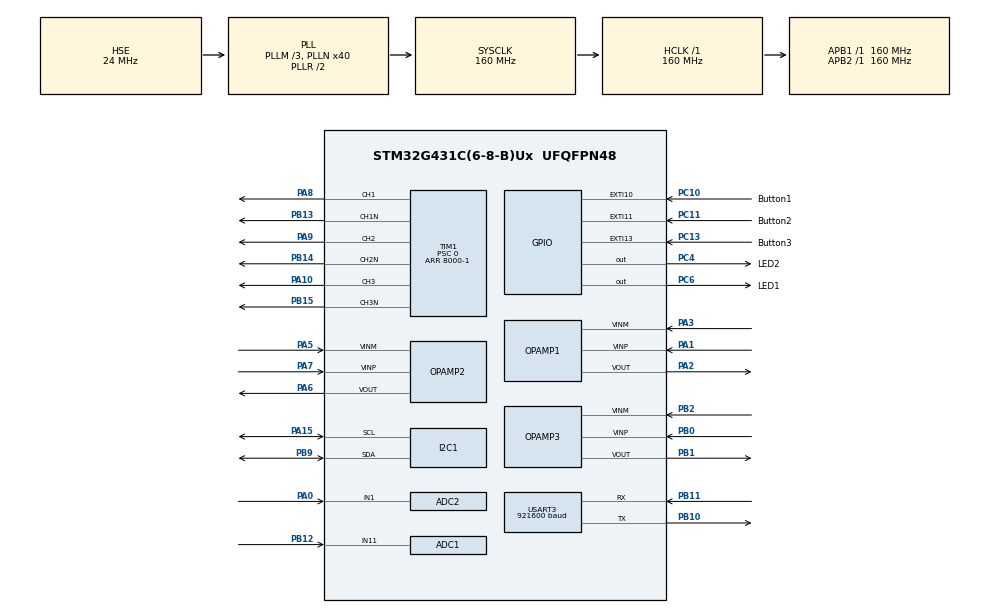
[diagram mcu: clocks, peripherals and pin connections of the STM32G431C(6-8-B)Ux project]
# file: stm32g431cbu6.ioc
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ADC1.Channel-1\#ChannelRegularConversion=ADC_CHANNEL_11
ADC1.ClockPrescaler=ADC_CLOCK_ASYNC_DIV4
ADC1.EnableInjectedConversion=ENABLE
ADC1.ExternalTrigInjecConv=ADC_EXTERNALTRIGINJEC_T1_CC4
ADC1.InjNumberOfConversion=2
ADC1.InjectedChannel-2\#ChannelInjectedConversion=ADC_CHANNEL_3
ADC1.InjectedChannel-3\#ChannelInjectedConversion=ADC_CHANNEL_12
ADC1.InjectedOffsetNumber-2\#ChannelInjectedConversion=ADC_OFFSET_NONE
ADC1.InjectedOffsetNumber-3\#ChannelInjectedConversion=ADC_OFFSET_NONE
ADC1.InjectedRank-2\#ChannelInjectedConversion=1
ADC1.InjectedRank-3\#ChannelInjectedConversion=2
ADC1.InjectedSamplingTime-2\#ChannelInjectedConversion=ADC_SAMPLETIME_6CYCLES_5
ADC1.InjectedSamplingTime-3\#ChannelInjectedConversion=ADC_SAMPLETIME_6CYCLES_5
ADC1.NbrOfConversion=1
ADC1.NbrOfConversionFlag=1
ADC1.OffsetNumber-1\#ChannelRegularConversion=ADC_OFFSET_NONE
ADC1.Rank-1\#ChannelRegularConversion=1
ADC1.SamplingTime-1\#ChannelRegularConversion=ADC_SAMPLETIME_2CYCLES_5
ADC1.master=1
ADC2.Channel-0\#ChannelRegularConversion=ADC_CHANNEL_1
ADC2.ClockPrescaler=ADC_CLOCK_ASYNC_DIV4
ADC2.EnableInjectedConversion=ENABLE
ADC2.ExternalTrigInjecConv=ADC_EXTERNALTRIGINJEC_T1_CC4
ADC2.InjNumberOfConversion=1
ADC2.InjectedChannel-1\#ChannelInjectedConversion=ADC_CHANNEL_3
ADC2.InjectedOffsetNumber-1\#ChannelInjectedConversion=ADC_OFFSET_NONE
ADC2.InjectedRank-1\#ChannelInjectedConversion=1
ADC2.InjectedSamplingTime-1\#ChannelInjectedConversion=ADC_SAMPLETIME_6CYCLES_5
ADC2.NbrOfConversionFlag=1
ADC2.OffsetNumber-0\#ChannelRegularConversion=ADC_OFFSET_NONE
ADC2.Rank-0\#ChannelRegularConversion=1
ADC2.SamplingTime-0\#ChannelRegularConversion=ADC_SAMPLETIME_2CYCLES_5
Dma.Request0=USART3_TX
Dma.USART3_TX.0.Direction=DMA_MEMORY_TO_PERIPH
Dma.USART3_TX.0.EventEnable=DISABLE
Dma.USART3_TX.0.Instance=DMA1_Channel1
Dma.USART3_TX.0.MemDataAlignment=DMA_MDATAALIGN_BYTE
Dma.USART3_TX.0.MemInc=DMA_MINC_ENABLE
Dma.USART3_TX.0.Mode=DMA_NORMAL
Dma.USART3_TX.0.PeriphDataAlignment=DMA_PDATAALIGN_BYTE
Dma.USART3_TX.0.PeriphInc=DMA_PINC_DISABLE
Dma.USART3_TX.0.Polarity=HAL_DMAMUX_REQ_GEN_RISING
Dma.USART3_TX.0.Priority=DMA_PRIORITY_LOW
Dma.USART3_TX.0.RequestNumber=1
Dma.USART3_TX.0.SignalID=NONE
Dma.USART3_TX.0.SyncEnable=DISABLE
Dma.USART3_TX.0.SyncPolarity=HAL_DMAMUX_SYNC_NO_EVENT
Dma.USART3_TX.0.SyncRequestNumber=1
Dma.USART3_TX.0.SyncSignalID=NONE
I2C1.Timing=0x30909DEC
Mcu.Family=STM32G4
Mcu.Name=STM32G431C(6-8-B)Ux
Mcu.Package=UFQFPN48
NVIC.ADC1_2_IRQn=true\:0\:0\:false\:false\:true\:true\:true\:true
NVIC.DMA1_Channel1_IRQn=true\:0\:0\:false\:false\:true\:false\:true\:true
NVIC.EXTI15_10_IRQn=true\:0\:0\:false\:false\:true\:true\:true\:true
NVIC.PriorityGroup=NVIC_PRIORITYGROUP_4
NVIC.TIM1_BRK_TIM15_IRQn=true\:0\:0\:false\:false\:true\:true\:true\:true
NVIC.TIM1_UP_TIM16_IRQn=true\:0\:0\:false\:false\:true\:true\:true\:true
NVIC.USART3_IRQn=true\:0\:0\:false\:false\:true\:true\:true\:true
PA0.Mode=IN1-Single-Ended
PA0.Signal=ADC2_IN1
PA1.Mode=Standalone
PA1.Signal=OPAMP1_VINP
PA10.Signal=S_TIM1_CH3
PA13.Mode=Serial_Wire
PA13.Signal=SYS_JTMS-SWDIO
PA14.Mode=Serial_Wire
PA14.Signal=SYS_JTCK-SWCLK
PA15.Mode=I2C
PA15.Signal=I2C1_SCL
PA2.Signal=SharedAnalog_PA2
PA3.Mode=Standalone
PA3.Signal=OPAMP1_VINM
PA5.Mode=Standalone
PA5.Signal=OPAMP2_VINM
PA6.Signal=SharedAnalog_PA6
PA7.Mode=Standalone
PA7.Signal=OPAMP2_VINP
PA8.Signal=S_TIM1_CH1
PA9.Signal=S_TIM1_CH2
PB0.Mode=Standalone
PB0.Signal=OPAMP3_VINP
PB1.Signal=SharedAnalog_PB1
PB10.Mode=Asynchronous
PB10.Signal=USART3_TX
PB11.Mode=Asynchronous
PB11.Signal=USART3_RX
PB12.Mode=IN11-Single-Ended
PB12.Signal=ADC1_IN11
PB13.Mode=PWM Generation1 CH1 CH1N
PB13.Signal=TIM1_CH1N
PB14.Mode=PWM Generation2 CH2 CH2N
PB14.Signal=TIM1_CH2N
PB15.Mode=PWM Generation3 CH3 CH3N
PB15.Signal=TIM1_CH3N
PB2.Mode=Standalone
PB2.Signal=OPAMP3_VINM
PB9.Mode=I2C
PB9.Signal=I2C1_SDA
PC10.GPIO_Label=Button1
PC10.Signal=GPXTI10
PC11.GPIO_Label=Button2
PC11.Signal=GPXTI11
PC13.GPIO_Label=Button3
PC13.Signal=GPXTI13
PC4.GPIO_Label=LED2
PC4.Signal=GPIO_Output
PC6.GPIO_Label=LED1
PC6.Signal=GPIO_Output
PF0-OSC_IN.Mode=HSE-External-Oscillator
PF0-OSC_IN.Signal=RCC_OSC_IN
PF1-OSC_OUT.Mode=HSE-External-Oscillator
PF1-OSC_OUT.Signal=RCC_OSC_OUT
ProjectManager.HeapSize=0x200
ProjectManager.StackSize=0x400
ProjectManager.TargetToolchain=MDK-ARM V5.32
RCC.ADC12Freq_Value=160000000
RCC.AHBFreq_Value=160000000
RCC.APB1Freq_Value=160000000
RCC.APB1TimFreq_Value=160000000
RCC.APB2Freq_Value=160000000
RCC.APB2TimFreq_Value=160000000
RCC.CortexFreq_Value=160000000
RCC.EXTERNAL_CLOCK_VALUE=12288000
RCC.HCLKFreq_Value=160000000
RCC.HSE_VALUE=24000000
RCC.HSI48_VALUE=48000000
RCC.HSI_VALUE=16000000
RCC.LSE_VALUE=32768
RCC.PLLM=RCC_PLLM_DIV3
RCC.PLLN=40
RCC.PLLSourceVirtual=RCC_PLLSOURCE_HSE
RCC.SYSCLKFreq_VALUE=160000000
RCC.SYSCLKSource=RCC_SYSCLKSOURCE_PLLCLK
RCC.USBFreq_Value=160000000
RCC.VCOOutputFreq_Value=320000000
SH.S_TIM1_CH1.0=TIM1_CH1,PWM Generation1 CH1 CH1N
SH.S_TIM1_CH2.0=TIM1_CH2,PWM Generation2 CH2 CH2N
SH.S_TIM1_CH3.0=TIM1_CH3,PWM Generation3 CH3 CH3N
SH.SharedAnalog_PA2.0=OPAMP1_VOUT,Standalone
SH.SharedAnalog_PA2.1=ADC1_IN3,IN3-Single-Ended
SH.SharedAnalog_PA6.0=OPAMP2_VOUT,Standalone
SH.SharedAnalog_PA6.1=ADC2_IN3,IN3-Single-Ended
SH.SharedAnalog_PB1.0=COMP1_INP
SH.SharedAnalog_PB1.1=OPAMP3_VOUT,Standalone
SH.SharedAnalog_PB1.2=ADC1_IN12,IN12-Single-Ended
STMicroelectronics.X-CUBE-ALGOBUILD.1.3.0.LibraryCcDSPOoLibraryJjDSPOoLibrary=true
TIM1.BreakFilter=2
TIM1.BreakState=TIM_BREAK_ENABLE
TIM1.Channel-PWM\ Generation1\ CH1\ CH1N=TIM_CHANNEL_1
TIM1.Channel-PWM\ Generation2\ CH2\ CH2N=TIM_CHANNEL_2
TIM1.Channel-PWM\ Generation3\ CH3\ CH3N=TIM_CHANNEL_3
TIM1.Channel-PWM\ Generation4\ No\ Output=TIM_CHANNEL_4
TIM1.ClockDivision=TIM_CLOCKDIVISION_DIV2
TIM1.CounterMode=TIM_COUNTERMODE_CENTERALIGNED1
TIM1.DeadTime=120
TIM1.DeadTimePreload=ENABLE
TIM1.OCMode_PWM-PWM\ Generation4\ No\ Output=TIM_OCMODE_PWM2
TIM1.PeriodNoDither=8000-1
TIM1.Prescaler=0
TIM1.PulseNoDither_4=8000-2
TIM1.RepetitionCounter=1
TIM1.SourceBRKCOMP1=TIM_BREAKINPUTSOURCE_DISABLE
TIM1.TIM_MasterOutputTrigger=TIM_TRGO_OC4REF
USART3.BaudRate=921600
USART3.VirtualMode-Asynchronous=VM_ASYNC
VP_STMicroelectronics.X-CUBE-ALGOBUILD_VS_DSPOoLibraryJjLibrary_1.3.0_1.3.0.Mode=DSPOoLibraryJjLibrary
VP_SYS_VS_DBSignals.Mode=DisableDeadBatterySignals
VP_TIM1_VS_ClockSourceINT.Mode=Internal
VP_TIM1_VS_no_output4.Mode=PWM Generation4 No Output
board=custom

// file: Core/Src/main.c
/* USER CODE BEGIN Header */
/**
 ******************************************************************************
 * @file           : main.c
 * @brief          : Main program body
 ******************************************************************************
 * @attention
 *
 * Copyright (c) 2023 STMicroelectronics.
 * All rights reserved.
 *
 * This software is licensed under terms that can be found in the LICENSE file
 * in the root directory of this software component.
 * If no LICENSE file comes with this software, it is provided AS-IS.
 *
 ******************************************************************************
 */
/* USER CODE END Header */
#include "main.h"
#include "adc.h"
#include "dma.h"
#include "i2c.h"
#include "opamp.h"
#include "tim.h"
#include "usart.h"
#include "gpio.h"

/* USER CODE BEGIN Includes */
#include <stdio.h>
#include <string.h>
#include "foc.h"
/* USER CODE END Includes */

/* USER CODE BEGIN PD */
extern DMA_HandleTypeDef hdma_usart3_tx;
uint8_t DataB1[32] = "LED1 Toggle\r\n";
uint8_t DataB2[32] = "LED2 Toggle\r\n";
uint8_t DataB3[32] = "LED1 and LED2 Open\r\n";
#define RXBUFFERSIZE 256
char RxBuffer[RXBUFFERSIZE];
uint8_t aRxBuffer;
uint8_t Uart1_Rx_Cnt = 0;
float Vbus, Ia, Ib, Ic;
uint16_t IA_Offset, IB_Offset, IC_Offset;
uint16_t adc1_in1, adc1_in2, adc1_in3, Vpoten, adc_vbus;
uint8_t ADC_offset = 0;
float temp[5];
uint8_t tempData[24] = {0, 0, 0, 0, 0, 0, 0, 0, 0, 0, 0, 0, 0, 0, 0, 0, 0, 0, 0, 0, 0, 0, 0x80, 0x7F};

/* USER CODE END PD */

void SystemClock_Config(void);

/* USER CODE BEGIN 0 */
// char data[] = "😂😂😂😂😂😂😂😊😊";
// void HAL_TIM_PeriodElapsedCallback(TIM_HandleTypeDef *htim)
// {
//   if (htim == &htim6)
//   {
//     // HAL_UART_Transmit_IT(&huart3, (uint8_t *)data, strlen(data));

//     static float theta = 0;
//     FOC(0, 5, theta);

//     theta += 0.001745329f;
//     if (theta > 6.2831852f)
//       theta = 0;

//     temp[0] = theta;
//     memcpy(tempData, (uint8_t *)&temp, sizeof(temp));
//     HAL_UART_Transmit_DMA(&huart3, (uint8_t *)tempData, 6 * 4);
//   }
// }
/* USER CODE END 0 */

int main(void)
{

  /* MCU Configuration--------------------------------------------------------*/

  /* Reset of all peripherals, Initializes the Flash interface and the Systick. */
  HAL_Init();

  /* Configure the system clock */
  SystemClock_Config();

  /* Initialize all configured peripherals */
  MX_GPIO_Init();
  MX_DMA_Init();
  MX_USART3_UART_Init();
  MX_ADC1_Init();
  MX_ADC2_Init();
  MX_OPAMP1_Init();
  MX_OPAMP2_Init();
  MX_OPAMP3_Init();
  MX_TIM1_Init();
  MX_I2C1_Init();
  /* USER CODE BEGIN 2 */
  HAL_OPAMP_Start(&hopamp1);
  HAL_OPAMP_Start(&hopamp2);
  HAL_OPAMP_Start(&hopamp3);
  // HAL_UART_Receive_IT(&huart3, (uint8_t *)&aRxBuffer, 1);
  HAL_ADCEx_Calibration_Start(&hadc1, ADC_SINGLE_ENDED);
  HAL_ADCEx_Calibration_Start(&hadc2, ADC_SINGLE_ENDED);
  __HAL_ADC_CLEAR_FLAG(&hadc1, ADC_FLAG_JEOC);
  __HAL_ADC_CLEAR_FLAG(&hadc1, ADC_FLAG_EOC);
  __HAL_ADC_CLEAR_FLAG(&hadc2, ADC_FLAG_JEOC);
  HAL_ADCEx_InjectedStart_IT(&hadc1);
  HAL_ADCEx_InjectedStart(&hadc2);
  TIM1->ARR = 8000 - 1;
  TIM1->CCR4 = 8000 - 2;
  // HAL_TIM_Base_Start_IT(&htim6);
  HAL_TIM_Base_Start(&htim1);
  HAL_TIM_PWM_Start(&htim1, TIM_CHANNEL_4);

  HAL_TIM_PWM_Start(&htim1, TIM_CHANNEL_1);
  HAL_TIM_PWM_Start(&htim1, TIM_CHANNEL_2);
  HAL_TIM_PWM_Start(&htim1, TIM_CHANNEL_3);

  HAL_TIMEx_PWMN_Start(&htim1, TIM_CHANNEL_1);
  HAL_TIMEx_PWMN_Start(&htim1, TIM_CHANNEL_2);
  HAL_TIMEx_PWMN_Start(&htim1, TIM_CHANNEL_3);

  int counter = 0;
  char message[20];

  /* USER CODE END 2 */

  /* Infinite loop */
  while (1)
  {

  }
}

void SystemClock_Config(void)
{
  RCC_OscInitTypeDef RCC_OscInitStruct = {0};
  RCC_ClkInitTypeDef RCC_ClkInitStruct = {0};

  /** Configure the main internal regulator output voltage
  */
  HAL_PWREx_ControlVoltageScaling(PWR_REGULATOR_VOLTAGE_SCALE1_BOOST);

  /** Initializes the RCC Oscillators according to the specified parameters
  * in the RCC_OscInitTypeDef structure.
  */
  RCC_OscInitStruct.OscillatorType = RCC_OSCILLATORTYPE_HSE;
  RCC_OscInitStruct.HSEState = RCC_HSE_ON;
  RCC_OscInitStruct.PLL.PLLState = RCC_PLL_ON;
  RCC_OscInitStruct.PLL.PLLSource = RCC_PLLSOURCE_HSE;
  RCC_OscInitStruct.PLL.PLLM = RCC_PLLM_DIV3;
  RCC_OscInitStruct.PLL.PLLN = 40;
  RCC_OscInitStruct.PLL.PLLP = RCC_PLLP_DIV2;
  RCC_OscInitStruct.PLL.PLLQ = RCC_PLLQ_DIV2;
  RCC_OscInitStruct.PLL.PLLR = RCC_PLLR_DIV2;
  if (HAL_RCC_OscConfig(&RCC_OscInitStruct) != HAL_OK)
  {
    Error_Handler();
  }

  /** Initializes the CPU, AHB and APB buses clocks
  */
  RCC_ClkInitStruct.ClockType = RCC_CLOCKTYPE_HCLK|RCC_CLOCKTYPE_SYSCLK
                              |RCC_CLOCKTYPE_PCLK1|RCC_CLOCKTYPE_PCLK2;
  RCC_ClkInitStruct.SYSCLKSource = RCC_SYSCLKSOURCE_PLLCLK;
  RCC_ClkInitStruct.AHBCLKDivider = RCC_SYSCLK_DIV1;
  RCC_ClkInitStruct.APB1CLKDivider = RCC_HCLK_DIV1;
  RCC_ClkInitStruct.APB2CLKDivider = RCC_HCLK_DIV1;

  if (HAL_RCC_ClockConfig(&RCC_ClkInitStruct, FLASH_LATENCY_4) != HAL_OK)
  {
    Error_Handler();
  }
}

/* USER CODE BEGIN 4 */

void HAL_GPIO_EXTI_Callback(uint16_t GPIO_Pin)
{
  /* Prevent unused argument(s) compilation warning */
  UNUSED(GPIO_Pin);
  if (Button2_Pin == GPIO_Pin)
  {
    HAL_TIM_PWM_Start(&htim1, TIM_CHANNEL_1);
    HAL_TIM_PWM_Start(&htim1, TIM_CHANNEL_2);
    HAL_TIM_PWM_Start(&htim1, TIM_CHANNEL_3);
    HAL_TIMEx_PWMN_Start(&htim1, TIM_CHANNEL_1);
    HAL_TIMEx_PWMN_Start(&htim1, TIM_CHANNEL_2);
    HAL_TIMEx_PWMN_Start(&htim1, TIM_CHANNEL_3);
  }
  if (Button3_Pin == GPIO_Pin)
  {
    HAL_TIM_PWM_Stop(&htim1, TIM_CHANNEL_1);
    HAL_TIM_PWM_Stop(&htim1, TIM_CHANNEL_2);
    HAL_TIM_PWM_Stop(&htim1, TIM_CHANNEL_3);
    HAL_TIMEx_PWMN_Stop(&htim1, TIM_CHANNEL_1);
    HAL_TIMEx_PWMN_Stop(&htim1, TIM_CHANNEL_2);
    HAL_TIMEx_PWMN_Stop(&htim1, TIM_CHANNEL_3);
  }
  /* NOTE: This function should not be modified, when the callback is needed,
           the HAL_GPIO_EXTI_Callback could be implemented in the user file
   */
}
void HAL_ADCEx_InjectedConvCpltCallback(ADC_HandleTypeDef *hadc)
{
  static uint8_t cnt;
  static uint16_t obsever_cnt;
  /* Prevent unused argument(s) compilation warning */
  UNUSED(hadc);
  if (hadc == &hadc1)
  {
    if (ADC_offset == 0)
    {
      cnt++;
      adc1_in1 = hadc1.Instance->JDR1;
      adc1_in2 = hadc2.Instance->JDR1;
      adc1_in3 = hadc1.Instance->JDR2;
      IA_Offset += adc1_in1;
      IB_Offset += adc1_in2;
      IC_Offset += adc1_in3;
      if (cnt >= 10)
      {
        ADC_offset = 1;
        IA_Offset = IA_Offset / 10;
        IB_Offset = IB_Offset / 10;
        IC_Offset = IC_Offset / 10;
      }
    }
    else
    {
      adc1_in1 = hadc1.Instance->JDR1;
      adc1_in3 = hadc1.Instance->JDR2;
      adc1_in2 = hadc2.Instance->JDR1;
      Ia = (adc1_in1 - IA_Offset) * 0.02197f;
      Ib = (adc1_in2 - IB_Offset) * 0.02197f;
      Ic = (adc1_in3 - IC_Offset) * 0.02197f;

      static float theta = 0;
      FOC(0, 5, theta);

      theta += 0.01f;
      if (theta > 6.2831852f)
        theta = 0;

      temp[0] = Ia;
      temp[1] = Ib;

      memcpy(tempData, (uint8_t *)&temp, sizeof(temp));
      HAL_UART_Transmit_DMA(&huart3, (uint8_t *)tempData, 6 * 4);
    }
  }
}
void HAL_UART_RxCpltCallback(UART_HandleTypeDef *huart)
{
  /* Prevent unused argument(s) compilation warning */
  UNUSED(huart);
  if (Uart1_Rx_Cnt >= 255)
  {
    Uart1_Rx_Cnt = 0;
    memset(RxBuffer, 0x00, sizeof(RxBuffer));
    HAL_UART_Transmit(&huart3, (uint8_t *)"????", 10, 0xFFFF);
  }
  else
  {
    RxBuffer[Uart1_Rx_Cnt++] = aRxBuffer;
    //		Uart1_Rx_Cnt = 0;
    //		memset(RxBuffer,0x00,sizeof(RxBuffer));
  }
  HAL_UART_Receive_IT(&huart3, (uint8_t *)&aRxBuffer, 1);
  /* NOTE: This function should not be modified, when the callback is needed,
           the HAL_UART_TxHalfCpltCallback can be implemented in the user file.
   */
}

int fputc(int ch, FILE *f)
{
  while ((USART3->ISR & 0X40) == 0)
    ;
  USART3->TDR = (uint8_t)ch;
  return ch;
}
/* USER CODE END 4 */

void Error_Handler(void)
{
  __disable_irq();
  while (1)
  {
  }
}
